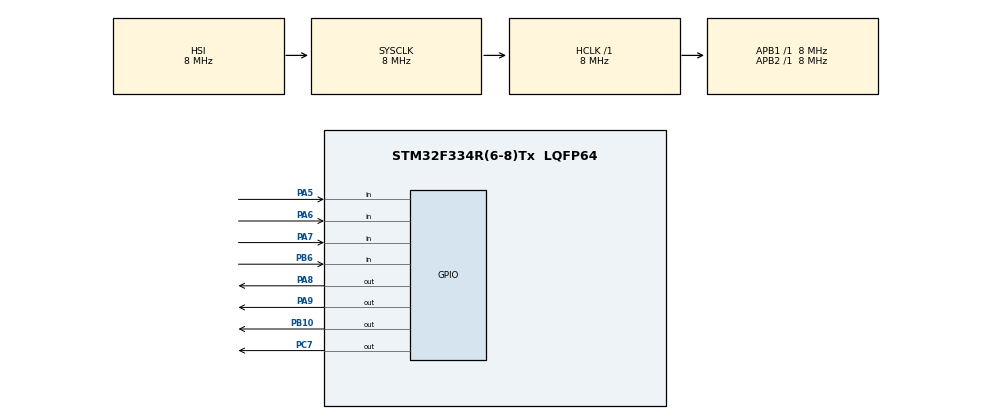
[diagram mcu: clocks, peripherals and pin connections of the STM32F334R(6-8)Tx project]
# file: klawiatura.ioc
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Mcu.Family=STM32F3
Mcu.Name=STM32F334R(6-8)Tx
Mcu.Package=LQFP64
NVIC.PriorityGroup=NVIC_PRIORITYGROUP_4
PA5.Signal=GPIO_Input
PA6.Signal=GPIO_Input
PA7.Signal=GPIO_Input
PA8.Signal=GPIO_Output
PA9.Signal=GPIO_Output
PB10.Signal=GPIO_Output
PB6.Signal=GPIO_Input
PC7.Signal=GPIO_Output
ProjectManager.HeapSize=0x200
ProjectManager.StackSize=0x400
ProjectManager.TargetToolchain=MDK-ARM V5
RCC.AHBFreq_Value=8000000
RCC.APB1Freq_Value=8000000
RCC.APB2Freq_Value=8000000
RCC.CortexFreq_Value=8000000
RCC.HSE_VALUE=8000000
RCC.HSI_VALUE=8000000
RCC.LSE_VALUE=32768
RCC.SYSCLKFreq_VALUE=8000000
board=custom

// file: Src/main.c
/* USER CODE BEGIN Header */
/**
  ******************************************************************************
  * @file           : main.c
  * @brief          : Main program body
  ******************************************************************************
  ** This notice applies to any and all portions of this file
  * that are not between comment pairs USER CODE BEGIN and
  * USER CODE END. Other portions of this file, whether
  * inserted by the user or by software development tools
  * are owned by their respective copyright owners.
  *
  * COPYRIGHT(c) 2019 STMicroelectronics
  *
  * Redistribution and use in source and binary forms, with or without modification,
  * are permitted provided that the following conditions are met:
  *   1. Redistributions of source code must retain the above copyright notice,
  *      this list of conditions and the following disclaimer.
  *   2. Redistributions in binary form must reproduce the above copyright notice,
  *      this list of conditions and the following disclaimer in the documentation
  *      and/or other materials provided with the distribution.
  *   3. Neither the name of STMicroelectronics nor the names of its contributors
  *      may be used to endorse or promote products derived from this software
  *      without specific prior written permission.
  *
  * THIS SOFTWARE IS PROVIDED BY THE COPYRIGHT HOLDERS AND CONTRIBUTORS "AS IS"
  * AND ANY EXPRESS OR IMPLIED WARRANTIES, INCLUDING, BUT NOT LIMITED TO, THE
  * IMPLIED WARRANTIES OF MERCHANTABILITY AND FITNESS FOR A PARTICULAR PURPOSE ARE
  * DISCLAIMED. IN NO EVENT SHALL THE COPYRIGHT HOLDER OR CONTRIBUTORS BE LIABLE
  * FOR ANY DIRECT, INDIRECT, INCIDENTAL, SPECIAL, EXEMPLARY, OR CONSEQUENTIAL
  * DAMAGES (INCLUDING, BUT NOT LIMITED TO, PROCUREMENT OF SUBSTITUTE GOODS OR
  * SERVICES; LOSS OF USE, DATA, OR PROFITS; OR BUSINESS INTERRUPTION) HOWEVER
  * CAUSED AND ON ANY THEORY OF LIABILITY, WHETHER IN CONTRACT, STRICT LIABILITY,
  * OR TORT (INCLUDING NEGLIGENCE OR OTHERWISE) ARISING IN ANY WAY OUT OF THE USE
  * OF THIS SOFTWARE, EVEN IF ADVISED OF THE POSSIBILITY OF SUCH DAMAGE.
  *
  ******************************************************************************
  */
/* USER CODE END Header */

#include "main.h"

/* USER CODE BEGIN Includes */
#include "MY_Keypad4x4.h"
#include <stdbool.h>
/* USER CODE END Includes */

void SystemClock_Config(void);
static void MX_GPIO_Init(void);

/* USER CODE BEGIN 0 */
	bool mySwitches[16];
/* USER CODE END 0 */

int main(void)
{
  /* USER CODE BEGIN 1 */
	Keypad_WiresTypeDef myKeypadStruct;

  /* USER CODE END 1 */

  /* MCU Configuration--------------------------------------------------------*/

  /* Reset of all peripherals, Initializes the Flash interface and the Systick. */
  HAL_Init();

  /* Configure the system clock */
  SystemClock_Config();

  /* Initialize all configured peripherals */
  MX_GPIO_Init();
  /* USER CODE BEGIN 2 */
	myKeypadStruct.IN0_Port = GPIOA;
	myKeypadStruct.IN1_Port = GPIOA;
	myKeypadStruct.IN2_Port = GPIOA;
	myKeypadStruct.IN3_Port = GPIOB;

	myKeypadStruct.OUT0_Port = GPIOC;
	myKeypadStruct.OUT1_Port = GPIOA;
	myKeypadStruct.OUT2_Port = GPIOA;
	myKeypadStruct.OUT3_Port = GPIOB;

	myKeypadStruct.IN0pin = GPIO_PIN_5;
	myKeypadStruct.IN1pin = GPIO_PIN_6;
	myKeypadStruct.IN2pin = GPIO_PIN_7;
	myKeypadStruct.IN3pin = GPIO_PIN_6;
	myKeypadStruct.OUT0pin = GPIO_PIN_7;
	myKeypadStruct.OUT1pin = GPIO_PIN_9;
	myKeypadStruct.OUT2pin = GPIO_PIN_8;
	myKeypadStruct.OUT3pin = GPIO_PIN_10;

	Keypad4x4_Init(&myKeypadStruct);
  /* USER CODE END 2 */

  /* Infinite loop */
  while (1)
  {

    /* USER CODE BEGIN 3 */
		Keypad4x4_ReadKeypad(mySwitches);
		HAL_Delay(100);
  }
  /* USER CODE END 3 */
}

void SystemClock_Config(void)
{
  RCC_OscInitTypeDef RCC_OscInitStruct = {0};
  RCC_ClkInitTypeDef RCC_ClkInitStruct = {0};

  /**Initializes the CPU, AHB and APB busses clocks
  */
  RCC_OscInitStruct.OscillatorType = RCC_OSCILLATORTYPE_HSI;
  RCC_OscInitStruct.HSIState = RCC_HSI_ON;
  RCC_OscInitStruct.HSICalibrationValue = RCC_HSICALIBRATION_DEFAULT;
  RCC_OscInitStruct.PLL.PLLState = RCC_PLL_NONE;
  if (HAL_RCC_OscConfig(&RCC_OscInitStruct) != HAL_OK)
  {
    Error_Handler();
  }
  /**Initializes the CPU, AHB and APB busses clocks
  */
  RCC_ClkInitStruct.ClockType = RCC_CLOCKTYPE_HCLK|RCC_CLOCKTYPE_SYSCLK
                              |RCC_CLOCKTYPE_PCLK1|RCC_CLOCKTYPE_PCLK2;
  RCC_ClkInitStruct.SYSCLKSource = RCC_SYSCLKSOURCE_HSI;
  RCC_ClkInitStruct.AHBCLKDivider = RCC_SYSCLK_DIV1;
  RCC_ClkInitStruct.APB1CLKDivider = RCC_HCLK_DIV1;
  RCC_ClkInitStruct.APB2CLKDivider = RCC_HCLK_DIV1;

  if (HAL_RCC_ClockConfig(&RCC_ClkInitStruct, FLASH_LATENCY_0) != HAL_OK)
  {
    Error_Handler();
  }
}

static void MX_GPIO_Init(void)
{
  GPIO_InitTypeDef GPIO_InitStruct = {0};

  /* GPIO Ports Clock Enable */
  __HAL_RCC_GPIOA_CLK_ENABLE();
  __HAL_RCC_GPIOB_CLK_ENABLE();
  __HAL_RCC_GPIOC_CLK_ENABLE();

  /*Configure GPIO pin Output Level */
  HAL_GPIO_WritePin(GPIOB, GPIO_PIN_10, GPIO_PIN_RESET);

  /*Configure GPIO pin Output Level */
  HAL_GPIO_WritePin(GPIOC, GPIO_PIN_7, GPIO_PIN_RESET);

  /*Configure GPIO pin Output Level */
  HAL_GPIO_WritePin(GPIOA, GPIO_PIN_8|GPIO_PIN_9, GPIO_PIN_RESET);

  /*Configure GPIO pins : PA5 PA6 PA7 */
  GPIO_InitStruct.Pin = GPIO_PIN_5|GPIO_PIN_6|GPIO_PIN_7;
  GPIO_InitStruct.Mode = GPIO_MODE_INPUT;
  GPIO_InitStruct.Pull = GPIO_NOPULL;
  HAL_GPIO_Init(GPIOA, &GPIO_InitStruct);

  /*Configure GPIO pin : PB10 */
  GPIO_InitStruct.Pin = GPIO_PIN_10;
  GPIO_InitStruct.Mode = GPIO_MODE_OUTPUT_PP;
  GPIO_InitStruct.Pull = GPIO_NOPULL;
  GPIO_InitStruct.Speed = GPIO_SPEED_FREQ_LOW;
  HAL_GPIO_Init(GPIOB, &GPIO_InitStruct);

  /*Configure GPIO pin : PC7 */
  GPIO_InitStruct.Pin = GPIO_PIN_7;
  GPIO_InitStruct.Mode = GPIO_MODE_OUTPUT_PP;
  GPIO_InitStruct.Pull = GPIO_NOPULL;
  GPIO_InitStruct.Speed = GPIO_SPEED_FREQ_LOW;
  HAL_GPIO_Init(GPIOC, &GPIO_InitStruct);

  /*Configure GPIO pins : PA8 PA9 */
  GPIO_InitStruct.Pin = GPIO_PIN_8|GPIO_PIN_9;
  GPIO_InitStruct.Mode = GPIO_MODE_OUTPUT_PP;
  GPIO_InitStruct.Pull = GPIO_NOPULL;
  GPIO_InitStruct.Speed = GPIO_SPEED_FREQ_LOW;
  HAL_GPIO_Init(GPIOA, &GPIO_InitStruct);

  /*Configure GPIO pin : PB6 */
  GPIO_InitStruct.Pin = GPIO_PIN_6;
  GPIO_InitStruct.Mode = GPIO_MODE_INPUT;
  GPIO_InitStruct.Pull = GPIO_NOPULL;
  HAL_GPIO_Init(GPIOB, &GPIO_InitStruct);

}

void Error_Handler(void)
{
}

/************************ (C) COPYRIGHT STMicroelectronics *****END OF FILE****/
